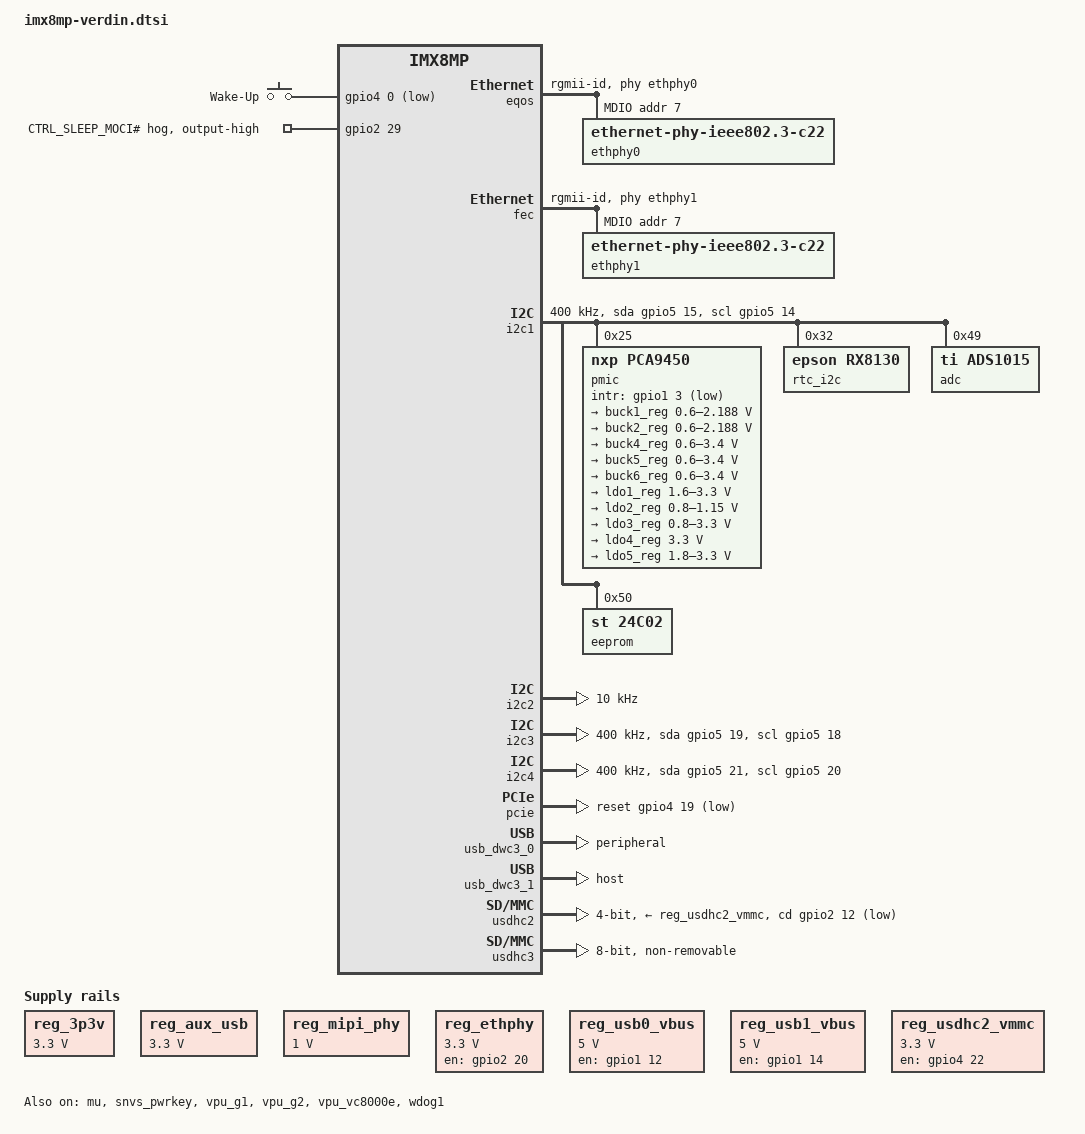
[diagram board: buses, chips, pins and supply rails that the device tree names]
// SPDX-License-Identifier: GPL-2.0+ OR MIT
/*
 * Copyright 2020 Toradex
 */

#include "dt-bindings/pwm/pwm.h"
#include "imx8mp.dtsi"

/ {
	chosen {
		bootargs = "console=ttymxc2,115200 earlycon";
		stdout-path = &uart3;
	};

	aliases {
		rtc0 = &rtc_i2c;
		rtc1 = &snvs_rtc;
	};

	backlight: backlight {
		compatible = "pwm-backlight";
		brightness-levels = <0 45 63 88 119 158 203 255>;
		default-brightness-level = <4>;
		/* Verdin MEZ_DSI_1_BKL_EN (SODIMM 21) */
		enable-gpios = <&gpio4 28 GPIO_ACTIVE_HIGH>;
		pinctrl-names = "default";
		pinctrl-0 = <&pinctrl_mez_dsi_1_bkl_en>;
		power-supply = <&reg_3p3v>;
		/* Verdin MEZ_PWM_3_DSI (SODIMM 19) */
		pwms = <&pwm3 0 6666667 PWM_POLARITY_INVERTED>;
		status = "disabled";
	};

	gpio-keys {
		compatible = "gpio-keys";
		pinctrl-names = "default";
		pinctrl-0 = <&pinctrl_gpio_keys>;

		wakeup {
			debounce-interval = <10>;
			gpios = <&gpio4 0 GPIO_ACTIVE_LOW>;
			label = "Wake-Up";
			linux,code = <KEY_WAKEUP>;
			wakeup-source;
		};
	};

	/* Carrier Board Supply */
	reg_3p3v: regulator-3p3v {
		compatible = "regulator-fixed";
		regulator-max-microvolt = <3300000>;
		regulator-min-microvolt = <3300000>;
		regulator-name = "REG_3P3V";
	};

	reg_aux_usb: regulator-aux-usb {
		compatible = "regulator-fixed";
		regulator-max-microvolt = <3300000>;
		regulator-min-microvolt = <3300000>;
		regulator-name = "REG_AUX_USB";
	};

	reg_mipi_phy: regulator-mipi-phy {
		compatible = "regulator-fixed";
		regulator-max-microvolt = <1000000>;
		regulator-min-microvolt = <1000000>;
		regulator-name = "REG_MIPI_PHY";
	};

	reg_ethphy: regulator-ethphy {
		compatible = "regulator-fixed";
		enable-active-high;
		gpio = <&gpio2 20 GPIO_ACTIVE_HIGH>; /* PMIC_EN_ETH */
		off-on-delay = <500000>;
		pinctrl-names = "default";
		pinctrl-0 = <&pinctrl_reg_eth>;
		regulator-always-on;
		regulator-boot-on;
		regulator-max-microvolt = <3300000>;
		regulator-min-microvolt = <3300000>;
		regulator-name = "V3.3_ETH";
		startup-delay-us = <200000>;
	};

	reg_usb0_vbus: regulator-usb0-vbus {
		compatible = "regulator-fixed";
		enable-active-high;
		/* Verdin USB1_EN */
		gpio = <&gpio1 12 GPIO_ACTIVE_HIGH>;
		pinctrl-names = "default";
		pinctrl-0 = <&pinctrl_reg_usb1_en>;
		regulator-max-microvolt = <5000000>;
		regulator-min-microvolt = <5000000>;
		regulator-name = "usb0_vbus";
	};

	reg_usb1_vbus: regulator-usb1-vbus {
		compatible = "regulator-fixed";
		enable-active-high;
		/* Verdin USB2_EN */
		gpio = <&gpio1 14 GPIO_ACTIVE_HIGH>; /* USB_2_EN */
		pinctrl-names = "default";
		pinctrl-0 = <&pinctrl_reg_usb2_en>;
		regulator-max-microvolt = <5000000>;
		regulator-min-microvolt = <5000000>;
		regulator-name = "usb1_vbus";
	};

	reg_usdhc2_vmmc: regulator-usdhc2 {
		compatible = "regulator-fixed";
		enable-active-high;
		gpio = <&gpio4 22 GPIO_ACTIVE_HIGH>; /* SD_1_PWR_EN */
		pinctrl-names = "default";
		pinctrl-0 = <&pinctrl_usdhc2_pwr_en>;
		regulator-max-microvolt = <3300000>;
		regulator-min-microvolt = <3300000>;
		regulator-name = "V3.3_SD";
		startup-delay-us = <2000>;
		off-on-delay = <100000>;
	};

	reserved-memory {
		#address-cells = <2>;
		#size-cells = <2>;
		ranges;

		rpmsg_reserved: rpmsg@0x55800000 {
			no-map;
			reg = <0 0x55800000 0 0x800000>;
		};
	};

	sound_card: sound-card {
		compatible = "simple-audio-card";
		simple-audio-card,bitclock-master = <&dailink_master>;
		simple-audio-card,format = "i2s";
		simple-audio-card,frame-master = <&dailink_master>;
		simple-audio-card,name = "imx8mm-wm8904";
		simple-audio-card,routing =
			"Headphone Jack", "HPOUTL",
			"Headphone Jack", "HPOUTR",
			"IN2L", "Line In Jack",
			"IN2R", "Line In Jack",
			"Headphone Jack", "MICBIAS",
			"IN1L", "Headphone Jack";
		simple-audio-card,widgets =
			"Microphone", "Microphone Jack",
			"Headphone", "Headphone Jack",
			"Line", "Line In Jack";

		dailink_master: simple-audio-card,codec {
			sound-dai = <&wm8904_1a>;
			clocks = <&audiomix_clk IMX8MP_CLK_AUDIOMIX_SAI1_MCLK1>;
		};

		simple-audio-card,cpu {
			sound-dai = <&sai1>;
		};
	};
};

&A53_0 {
	cpu-supply = <&buck2_reg>;
};

/* compare with commit d0307f1e31c64 */
&clk {
	init-on-array = <IMX8MP_CLK_HSIO_ROOT>;
};

/* Verdin SPI_1 */
&ecspi1 {
	#address-cells = <1>;
	#size-cells = <0>;
	pinctrl-names = "default";
	pinctrl-0 = <&pinctrl_ecspi1>;
	cs-gpios = <&gpio5 9 GPIO_ACTIVE_LOW>;
};

&eqos {
	phy-handle = <&ethphy0>;
	phy-mode = "rgmii-id";
//	phy-supply = <&reg_ethphy>;
	pinctrl-names = "default";
	pinctrl-0 = <&pinctrl_eqos>;

	mdio {
		compatible = "snps,dwmac-mdio";
		#address-cells = <1>;
		#size-cells = <0>;

		ethphy0: ethernet-phy@7 {
			compatible = "ethernet-phy-ieee802.3-c22";
//			interrupt-parent = <&gpio1>;
//			interrupts = <10 IRQ_TYPE_LEVEL_LOW>;
			micrel,led-mode = <0>;
			reg = <7>;
		};
	};
};

&fec {
	fsl,magic-packet;
	phy-handle = <&ethphy1>;
	phy-mode = "rgmii-id";
	pinctrl-names = "default", "sleep";
	pinctrl-0 = <&pinctrl_fec>;
	pinctrl-1 = <&pinctrl_fec_sleep>;

	mdio {
		#address-cells = <1>;
		#size-cells = <0>;

		ethphy1: ethernet-phy@7 {
			compatible = "ethernet-phy-ieee802.3-c22";
//			interrupt-parent = <&gpio4>;
//			interrupts = <18 IRQ_TYPE_LEVEL_LOW>;
			micrel,led-mode = <0>;
			reg = <7>;
		};
	};
};

/* Verdin CAN_1 */
&flexcan1 {
	pinctrl-names = "default";
	pinctrl-0 = <&pinctrl_flexcan1>;
	status = "disabled";
};


/* Verdin CAN_2 */
&flexcan2 {
	pinctrl-names = "default";
	pinctrl-0 = <&pinctrl_flexcan2>;
	status = "disabled";
};

/* Verdin QSPI_1 */
&flexspi {
	pinctrl-names = "default";
	pinctrl-0 = <&pinctrl_flexspi0>;
#if 0
	flash0: mt25qu256aba@0 {
		#address-cells = <1>;
		#size-cells = <1>;
		compatible = "micron,mt25qu256aba";
		reg = <0>;
		spi-max-frequency = <80000000>;
		spi-nor,ddr-quad-read-dummy = <6>;
	};
#endif
};

&gpio1 {
	gpio-line-names = "";
};

&gpio2 {
	gpio-line-names = "";

	ctrl_sleep_moci {
		gpio-hog;
		gpios = <29 GPIO_ACTIVE_HIGH>;
		line-name = "CTRL_SLEEP_MOCI#";
		output-high;
		pinctrl-names = "default";
		pinctrl-0 = <&pinctrl_ctrl_sleep_moci>;
	};
};

&gpio5 {
	gpio-line-names = "";
};

/* On-module I2C */
&i2c1 {
	clock-frequency = <400000>;
	pinctrl-names = "default", "gpio";
	pinctrl-0 = <&pinctrl_i2c1>;
	pinctrl-1 = <&pinctrl_i2c1_gpio>;
	scl-gpios = <&gpio5 14 (GPIO_ACTIVE_HIGH | GPIO_OPEN_DRAIN)>;
	sda-gpios = <&gpio5 15 (GPIO_ACTIVE_HIGH | GPIO_OPEN_DRAIN)>;
	status = "okay";

	pmic: pca9450@25 {
		compatible = "nxp,pca9450";
		gpio_intr = <&gpio1 3 GPIO_ACTIVE_LOW>;
		i2c-lt-en = <0x101>;
		/* PMIC PCA9450 PMIC_nINT GPIO1_IO3 */
		pinctrl-0 = <&pinctrl_pmic>;
		reg = <0x25>;

		regulators {
			#address-cells = <1>;
			#size-cells = <0>;

			pca9450,pmic-buck2-uses-i2c-dvs;
			/* Run/Standby voltage */
			pca9450,pmic-buck2-dvs-voltage = <950000>, <850000>;

			buck1_reg: regulator@0 {
				reg = <0>;
				regulator-compatible = "buck1";
				regulator-min-microvolt = <600000>;
				regulator-max-microvolt = <2187500>;
				regulator-boot-on;
				regulator-always-on;
				regulator-ramp-delay = <3125>;
			};

			buck2_reg: regulator@1 {
				reg = <1>;
				regulator-compatible = "buck2";
				regulator-min-microvolt = <600000>;
				regulator-max-microvolt = <2187500>;
				regulator-boot-on;
				regulator-always-on;
				regulator-ramp-delay = <3125>;
			};

			buck4_reg: regulator@3 {
				reg = <3>;
				regulator-compatible = "buck4";
				regulator-min-microvolt = <600000>;
				regulator-max-microvolt = <3400000>;
				regulator-boot-on;
				regulator-always-on;
			};

			buck5_reg: regulator@4 {
				reg = <4>;
				regulator-compatible = "buck5";
				regulator-min-microvolt = <600000>;
				regulator-max-microvolt = <3400000>;
				regulator-boot-on;
				regulator-always-on;
			};

			buck6_reg: regulator@5 {
				reg = <5>;
				regulator-compatible = "buck6";
				regulator-min-microvolt = <600000>;
				regulator-max-microvolt = <3400000>;
				regulator-boot-on;
				regulator-always-on;
			};

			ldo1_reg: regulator@6 {
				reg = <6>;
				regulator-compatible = "ldo1";
				regulator-min-microvolt = <1600000>;
				regulator-max-microvolt = <3300000>;
				regulator-boot-on;
				regulator-always-on;
			};

			ldo2_reg: regulator@7 {
				reg = <7>;
				regulator-compatible = "ldo2";
				regulator-min-microvolt = <800000>;
				regulator-max-microvolt = <1150000>;
				regulator-boot-on;
				regulator-always-on;
			};

			ldo3_reg: regulator@8 {
				reg = <8>;
				regulator-compatible = "ldo3";
				regulator-min-microvolt = <800000>;
				regulator-max-microvolt = <3300000>;
				regulator-boot-on;
				regulator-always-on;
			};

			ldo4_reg: regulator@9 {
				reg = <9>;
				regulator-compatible = "ldo4";
				regulator-min-microvolt = <3300000>;
				regulator-max-microvolt = <3300000>;
				regulator-always-on;
			};

			ldo5_reg: regulator@10 {
				reg = <10>;
				regulator-compatible = "ldo5";
				regulator-min-microvolt = <1800000>;
				regulator-max-microvolt = <3300000>;
				regulator-boot-on;
				regulator-always-on;
			};
		};
	};

	rtc_i2c: rtc@32 {
		compatible = "epson,rx8130";
		reg = <0x32>;
	};

	adc@49 {
		compatible = "ti,ads1015";
		reg = <0x49>;
		#address-cells = <1>;
		#size-cells = <0>;

		/* Verdin I2C_1 (ADC_4 - ADC_3) */
		channel@0 {
			reg = <0>;
			ti,gain = <2>;
			ti,datarate = <4>;
		};

		/* Verdin I2C_1 (ADC_4 - ADC_1) */
		channel@1 {
			reg = <1>;
			ti,gain = <2>;
			ti,datarate = <4>;
		};

		/* Verdin I2C_1 (ADC_3 - ADC_1) */
		channel@2 {
			reg = <2>;
			ti,gain = <2>;
			ti,datarate = <4>;
		};

		/* Verdin I2C_1 (ADC_2 - ADC_1) */
		channel@3 {
			reg = <3>;
			ti,gain = <2>;
			ti,datarate = <4>;
		};

		/* Verdin I2C_1 ADC_4 */
		channel@4 {
			reg = <4>;
			ti,gain = <2>;
			ti,datarate = <4>;
		};

		/* Verdin I2C_1 ADC_3 */
		channel@5 {
			reg = <5>;
			ti,gain = <2>;
			ti,datarate = <4>;
		};

		/* Verdin I2C_1 ADC_2 */
		channel@6 {
			reg = <6>;
			ti,gain = <2>;
			ti,datarate = <4>;
		};

		/* Verdin I2C_1 ADC_1 */
		channel@7 {
			reg = <7>;
			ti,gain = <2>;
			ti,datarate = <4>;
		};
	};

	eeprom@50 {
		compatible = "st,24c02";
		pagesize = <16>;
		reg = <0x50>;
	};
};

/* Verdin I2C_2_DSI */
&i2c2 {
	clock-frequency = <10000>;
	pinctrl-names = "default", "gpio";
	pinctrl-0 = <&pinctrl_i2c2>;
	pinctrl-1 = <&pinctrl_i2c2_gpio>;
};

/* Verdin I2C_4_CSI */
&i2c3 {
	clock-frequency = <400000>;
	pinctrl-names = "default", "gpio";
	pinctrl-0 = <&pinctrl_i2c3>;
	pinctrl-1 = <&pinctrl_i2c3_gpio>;
	scl-gpios = <&gpio5 18 (GPIO_ACTIVE_HIGH | GPIO_OPEN_DRAIN)>;
	sda-gpios = <&gpio5 19 (GPIO_ACTIVE_HIGH | GPIO_OPEN_DRAIN)>;
};

/* Verdin I2C_1 */
&i2c4 {
	clock-frequency = <400000>;
	pinctrl-names = "default", "gpio";
	pinctrl-0 = <&pinctrl_i2c4>;
	pinctrl-1 = <&pinctrl_i2c4_gpio>;
	scl-gpios = <&gpio5 20 (GPIO_ACTIVE_HIGH | GPIO_OPEN_DRAIN)>;
	sda-gpios = <&gpio5 21 (GPIO_ACTIVE_HIGH | GPIO_OPEN_DRAIN)>;

	/* Audio Codec */
	wm8904_1a: codec@1a {
		compatible = "wlf,wm8904";
		#sound-dai-cells = <0>;
		clocks = <&audiomix_clk IMX8MP_CLK_AUDIOMIX_SAI1_MCLK1>;
		clock-names = "mclk";
		reg = <0x1a>;
		status = "disabled";
		DCVDD-supply = <&reg_3p3v>;
		DBVDD-supply = <&reg_3p3v>;
		AVDD-supply = <&reg_3p3v>;
		CPVDD-supply = <&reg_3p3v>;
		MICVDD-supply = <&reg_3p3v>;
	};

	gpio_expander_21: gpio-expander@21 {
		compatible = "nxp,pcal6416";
		#gpio-cells = <2>;
		gpio-controller;
		reg = <0x21>;
		status = "disabled";
		vcc-supply = <&reg_3p3v>;
	};

	lvds_ti_sn65dsi83: bridge@2c {
		compatible = "ti,sn65dsi83";
		/* Verdin MEZ_GPIO_1 (SODIMM 206) */
		enable-gpios = <&gpio1 0 GPIO_ACTIVE_HIGH>;
		pinctrl-names = "default";
		pinctrl-0 = <&pinctrl_mez_gpio1>;
		reg = <0x2c>;
		status = "disabled";
	};

	/* Current measurement into module VCC */
	hwmon: hwmon@40 {
		compatible = "ti,ina219";
		reg = <0x40>;
		shunt-resistor = <10000>;
		status = "disabled";
	};

	hdmi_lontium_lt8912: hdmi@48 {
		compatible = "lontium,lt8912";
		ddc-i2c-bus = <&i2c2>;
		/* Verdin MEZ_DSI_1_INT HPD (SODIMM 17) shared with MEZ_GPIO_1 (SODIMM 206) */
		hpd-gpios = <&gpio4 25 GPIO_ACTIVE_HIGH>;
		pinctrl-names = "default";
		pinctrl-0 = <&pinctrl_mez_dsi_1_int_hpd>, <&pinctrl_mez_gpio1>,
			    <&pinctrl_mez_gpio2>;
		reg = <0x48>;
		/* Verdin MEZ_GPIO_2 (SODIMM 208) */
		reset-gpios = <&gpio1 1 GPIO_ACTIVE_LOW>;
		status = "disabled";
	};

	atmel_maxtouch: touch@4a {
		compatible = "atmel,maxtouch";
		/* Verdin MEZ_DSI_1_INT# (SODIMM 17) */
		interrupt-parent = <&gpio4>;
		interrupts = <25 IRQ_TYPE_EDGE_FALLING>;
		pinctrl-names = "default";
		pinctrl-0 = <&pinctrl_mez_dsi_1_int_n>, <&pinctrl_mez_gpio2>;
		reg = <0x4a>;
		/* Verdin MEZ_GPIO_2 (SODIMM 208) */
		reset-gpios = <&gpio1 1 GPIO_ACTIVE_HIGH>;
		status = "disabled";
	};

	/* EEPROM on display adapter (MIPI DSI Display Adapter) */
	eeprom_display_adapter: eeprom@50 {
		compatible = "st,24c02";
		pagesize = <16>;
		reg = <0x50>;
		status = "disabled";
	};

	/* EEPROM on carrier board */
	eeprom_carrier_board: eeprom@57 {
		compatible = "st,24c02";
		pagesize = <16>;
		reg = <0x57>;
		status = "disabled";
	};
};

&mu {
	status = "okay";
};

/* Verdin PCIE_1 */
&pcie {
	bus-range = <0x00 0xff>;
	clocks = <&clk IMX8MP_CLK_HSIO_AXI_DIV>,
		 <&clk IMX8MP_CLK_PCIE_AUX>,
		 <&clk IMX8MP_CLK_PCIE_PHY>,
		 <&clk IMX8MP_CLK_PCIE_ROOT>;
	clock-names = "pcie", "pcie_aux", "pcie_phy", "pcie_bus";
	assigned-clocks = <&clk IMX8MP_CLK_HSIO_AXI_SRC>,
			  <&clk IMX8MP_CLK_PCIE_AUX>;
	assigned-clock-parents = <&clk IMX8MP_SYS_PLL2_500M>,
				 <&clk IMX8MP_SYS_PLL2_50M>;
	epdev_on-supply = <&reg_3p3v>;
	ext_osc = <0>;
	pinctrl-names = "default";
	pinctrl-0 = <&pinctrl_pcie>;
	reserved-region = <&rpmsg_reserved>;
	reset-gpio = <&gpio4 19 GPIO_ACTIVE_LOW>;
};

&pcie_phy {
	ext_osc = <0>;
};

/* Verdin PWM_1 */
&pwm1 {
	pinctrl-names = "default";
	pinctrl-0 = <&pinctrl_pwm_1>;
	#pwm-cells = <3>;
};

/* Verdin PWM_2 */
&pwm2 {
	pinctrl-names = "default";
	pinctrl-0 = <&pinctrl_pwm_2>;
	#pwm-cells = <3>;
};

/* Verdin PWM_3_DSI */
&pwm3 {
	#pwm-cells = <3>;
	pinctrl-names = "default";
	pinctrl-0 = <&pinctrl_pwm_3>;
};

/* VERDIN I2S_1 */
&sai1 {
	#sound-dai-cells = <0>;
	assigned-clocks = <&clk IMX8MP_CLK_SAI1>;
	assigned-clock-parents = <&clk IMX8MP_AUDIO_PLL1_OUT>;
	assigned-clock-rates = <24576000>;
	clocks = <&audiomix_clk IMX8MP_CLK_AUDIOMIX_SAI1_IPG>, <&clk IMX8MP_CLK_DUMMY>,
		 <&audiomix_clk IMX8MP_CLK_AUDIOMIX_SAI1_MCLK1>, <&clk IMX8MP_CLK_DUMMY>,
		 <&clk IMX8MP_CLK_DUMMY>;
	clock-names = "bus", "mclk0", "mclk1", "mclk2", "mclk3";
	fsl,sai-mclk-direction-output;
	pinctrl-names = "default";
	pinctrl-0 = <&pinctrl_sai1>;
};

/* VERDIN I2S_2 */
&sai3 {
	#sound-dai-cells = <0>;
	assigned-clocks = <&clk IMX8MP_CLK_SAI3>;
	assigned-clock-parents = <&clk IMX8MP_AUDIO_PLL1_OUT>;
	assigned-clock-rates = <24576000>;
	clocks = <&audiomix_clk IMX8MP_CLK_AUDIOMIX_SAI3_IPG>, <&clk IMX8MP_CLK_DUMMY>,
		 <&audiomix_clk IMX8MP_CLK_AUDIOMIX_SAI3_MCLK1>, <&clk IMX8MP_CLK_DUMMY>,
		 <&clk IMX8MP_CLK_DUMMY>;
	clock-names = "bus", "mclk0", "mclk1", "mclk2", "mclk3";
	fsl,sai-mclk-direction-output;
	pinctrl-names = "default";
	pinctrl-0 = <&pinctrl_sai3>;
};

&sdma2 {
	status = "okay";
};

&snvs_pwrkey {
	status = "okay";
};

/* Verdin UART_1 */
&uart1 {
	pinctrl-names = "default";
	pinctrl-0 = <&pinctrl_uart1>;
	fsl,uart-has-rtscts;
};

/* Verdin UART_2 */
&uart2 {
	pinctrl-names = "default";
	pinctrl-0 = <&pinctrl_uart2>;
	fsl,uart-has-rtscts;
};

/* Verdin UART_3, used as the Linux Console */
&uart3 {
	pinctrl-names = "default";
	pinctrl-0 = <&pinctrl_uart3>;
};

/* Verdin UART_4 */
&uart4 {
	pinctrl-names = "default";
	pinctrl-0 = <&pinctrl_uart4>;
};

/* Verdin USB_1 */
&usb3_phy0 {
	fsl,phy-tx-vref-tune = <6>;
	fsl,phy-tx-rise-tune = <0>;
	fsl,phy-tx-preemp-amp-tune = <3>;
	fsl,phy-comp-dis-tune = <7>;
	fsl,pcs-tx-deemph-3p5db = <0x21>;
	fsl,phy-pcs-tx-swing-full = <0x7f>;
	vbus-supply = <&reg_usb0_vbus>;
};

&usb_dwc3_0 {
//	dr_mode = "otg";
	dr_mode = "peripheral";
	hnp-disable;
	srp-disable;
	adp-disable;
	usb-role-switch;
};

/* Verdin USB_2 */
&usb3_phy1 {
	fsl,phy-tx-preemp-amp-tune = <2>;
	vbus-supply = <&reg_usb1_vbus>;
};

&usb_dwc3_1 {
	dr_mode = "host";
};

/* Verdin SD_1 */
&usdhc2 {
	bus-width = <4>;
	cd-gpios = <&gpio2 12 GPIO_ACTIVE_LOW>;
	disable-wp;
	pinctrl-names = "default", "state_100mhz", "state_200mhz";
	pinctrl-0 = <&pinctrl_usdhc2>, <&pinctrl_usdhc2_cd>;
	pinctrl-1 = <&pinctrl_usdhc2_100mhz>, <&pinctrl_usdhc2_cd>;
	pinctrl-2 = <&pinctrl_usdhc2_200mhz>, <&pinctrl_usdhc2_cd>;
	vmmc-supply = <&reg_usdhc2_vmmc>;
};

/* On-module eMMC */
&usdhc3 {
	bus-width = <8>;
	keep-power-in-suspend;
	non-removable;
	pinctrl-names = "default", "state_100mhz", "state_200mhz";
	pinctrl-0 = <&pinctrl_usdhc3>;
	pinctrl-1 = <&pinctrl_usdhc3_100mhz>;
	pinctrl-2 = <&pinctrl_usdhc3_200mhz>;
	pm-ignore-notify;
	status = "okay";
	/* TODO Strobe */
};

&vpu_g1 {
	status = "okay";
};

&vpu_g2 {
	status = "okay";
};

&vpu_vc8000e {
	status = "okay";
};

&wdog1 {
	fsl,ext-reset-output;
	pinctrl-names = "default";
	pinctrl-0 = <&pinctrl_wdog>;
	status = "okay";
};

&iomuxc {
	pinctrl-names = "default";
	pinctrl-0 = <&pinctrl_gpio3>, <&pinctrl_gpio4>, <&pinctrl_gpio7>,
		    <&pinctrl_gpio8>, <&pinctrl_gpio_hog1>,
		    <&pinctrl_gpio_hog2>, <&pinctrl_gpio_hog3>,
		    <&pinctrl_hdmi_hog>, <&pinctrl_pmic_tpm_ena>;

	pinctrl_ctrl_sleep_moci: ctrlsleepmocigrp {
		fsl,pins = <
			MX8MP_IOMUXC_SAI3_RXC__GPIO4_IO29		0x1c4	/* CTRL_SLEEP_MOCI */
		>;
	};

	pinctrl_ecspi1: ecspi1grp {
		fsl,pins = <
			MX8MP_IOMUXC_ECSPI1_SCLK__ECSPI1_SCLK		0x4	/* SODIMM 196 */
			MX8MP_IOMUXC_ECSPI1_MOSI__ECSPI1_MOSI		0x4	/* SODIMM 200 */
			MX8MP_IOMUXC_ECSPI1_MISO__ECSPI1_MISO		0x1c4	/* SODIMM 198 */
			MX8MP_IOMUXC_ECSPI1_SS0__GPIO5_IO09		0x1c4	/* SODIMM 202 */
		>;
	};

	/* Connection On Board PHY */
	pinctrl_eqos: eqosgrp {
		fsl,pins = <
			MX8MP_IOMUXC_ENET_MDC__ENET_QOS_MDC		0x3
			MX8MP_IOMUXC_ENET_MDIO__ENET_QOS_MDIO		0x3
			MX8MP_IOMUXC_ENET_RD0__ENET_QOS_RGMII_RD0	0x91
			MX8MP_IOMUXC_ENET_RD1__ENET_QOS_RGMII_RD1	0x91
			MX8MP_IOMUXC_ENET_RD2__ENET_QOS_RGMII_RD2	0x91
			MX8MP_IOMUXC_ENET_RD3__ENET_QOS_RGMII_RD3	0x91
			MX8MP_IOMUXC_ENET_RXC__CCM_ENET_QOS_CLOCK_GENERATE_RX_CLK	0x91
			MX8MP_IOMUXC_ENET_RX_CTL__ENET_QOS_RGMII_RX_CTL	0x91
			MX8MP_IOMUXC_ENET_TD0__ENET_QOS_RGMII_TD0	0x1f
			MX8MP_IOMUXC_ENET_TD1__ENET_QOS_RGMII_TD1	0x1f
			MX8MP_IOMUXC_ENET_TD2__ENET_QOS_RGMII_TD2	0x1f
			MX8MP_IOMUXC_ENET_TD3__ENET_QOS_RGMII_TD3	0x1f
			MX8MP_IOMUXC_ENET_TX_CTL__ENET_QOS_RGMII_TX_CTL	0x1f
			MX8MP_IOMUXC_ENET_TXC__CCM_ENET_QOS_CLOCK_GENERATE_TX_CLK	0x1f
			MX8MP_IOMUXC_GPIO1_IO10__GPIO1_IO10		0x1c4
		>;
	};

	/* Connection Carrier Board PHY ETH_2 */
	pinctrl_fec: fecgrp {
		fsl,pins = <
			MX8MP_IOMUXC_SAI1_RXD2__ENET1_MDC		0x3	/* SODIMM 193 */
			MX8MP_IOMUXC_SAI1_RXD3__ENET1_MDIO		0x3	/* SODIMM 191 */
			MX8MP_IOMUXC_SAI1_RXD4__ENET1_RGMII_RD0		0x91	/* SODIMM 201 */
			MX8MP_IOMUXC_SAI1_RXD5__ENET1_RGMII_RD1		0x91	/* SODIMM 203 */
			MX8MP_IOMUXC_SAI1_RXD6__ENET1_RGMII_RD2		0x91	/* SODIMM 205 */
			MX8MP_IOMUXC_SAI1_RXD7__ENET1_RGMII_RD3		0x91	/* SODIMM 207 */
			MX8MP_IOMUXC_SAI1_TXC__ENET1_RGMII_RXC		0x91	/* SODIMM 197 */
			MX8MP_IOMUXC_SAI1_TXFS__ENET1_RGMII_RX_CTL	0x91	/* SODIMM 199 */
			MX8MP_IOMUXC_SAI1_TXD0__ENET1_RGMII_TD0		0x1f	/* SODIMM 221 */
			MX8MP_IOMUXC_SAI1_TXD1__ENET1_RGMII_TD1		0x1f	/* SODIMM 219 */
			MX8MP_IOMUXC_SAI1_TXD2__ENET1_RGMII_TD2		0x1f	/* SODIMM 217 */
			MX8MP_IOMUXC_SAI1_TXD3__ENET1_RGMII_TD3		0x1f	/* SODIMM 215 */
			MX8MP_IOMUXC_SAI1_TXD4__ENET1_RGMII_TX_CTL	0x1f	/* SODIMM 211 */
			MX8MP_IOMUXC_SAI1_TXD5__ENET1_RGMII_TXC		0x1f	/* SODIMM 213 */
			MX8MP_IOMUXC_SAI1_TXD6__GPIO4_IO18		0x1c4	/* SODIMM 189 */
		>;
	};

	pinctrl_fec_sleep: fecsleepgrp {
		fsl,pins = <
			MX8MP_IOMUXC_SAI1_RXD2__ENET1_MDC		0x3	/* SODIMM 193 */
			MX8MP_IOMUXC_SAI1_RXD3__ENET1_MDIO		0x3	/* SODIMM 191 */
			MX8MP_IOMUXC_SAI1_RXD4__ENET1_RGMII_RD0		0x91	/* SODIMM 201 */
			MX8MP_IOMUXC_SAI1_RXD5__ENET1_RGMII_RD1		0x91	/* SODIMM 203 */
			MX8MP_IOMUXC_SAI1_RXD6__ENET1_RGMII_RD2		0x91	/* SODIMM 205 */
			MX8MP_IOMUXC_SAI1_RXD7__ENET1_RGMII_RD3		0x91	/* SODIMM 207 */
			MX8MP_IOMUXC_SAI1_TXC__ENET1_RGMII_RXC		0x91	/* SODIMM 197 */
			MX8MP_IOMUXC_SAI1_TXFS__ENET1_RGMII_RX_CTL	0x91	/* SODIMM 199 */
			MX8MP_IOMUXC_SAI1_TXD0__GPIO4_IO12		0x1f	/* SODIMM 221 */
			MX8MP_IOMUXC_SAI1_TXD1__GPIO4_IO13		0x1f	/* SODIMM 219 */
			MX8MP_IOMUXC_SAI1_TXD2__GPIO4_IO14		0x1f	/* SODIMM 217 */
			MX8MP_IOMUXC_SAI1_TXD3__GPIO4_IO15		0x1f	/* SODIMM 215 */
			MX8MP_IOMUXC_SAI1_TXD4__GPIO4_IO16		0x1f	/* SODIMM 211 */
			MX8MP_IOMUXC_SAI1_TXD5__GPIO4_IO17		0x1f	/* SODIMM 213 */
			MX8MP_IOMUXC_SAI1_TXD6__GPIO4_IO18		0x184	/* SODIMM 189 */
		>;
	};

	pinctrl_flexcan1: flexcan1grp {
		fsl,pins = <
			MX8MP_IOMUXC_SPDIF_RX__CAN1_RX			0x154	/* SODIMM 22 */
			MX8MP_IOMUXC_SPDIF_TX__CAN1_TX			0x154	/* SODIMM 20 */
		>;
	};

	pinctrl_flexcan2: flexcan2grp {
		fsl,pins = <
			MX8MP_IOMUXC_SAI2_MCLK__CAN2_RX			0x154	/* SODIMM 26 */
			MX8MP_IOMUXC_SAI2_TXD0__CAN2_TX			0x154	/* SODIMM 24 */
		>;
	};

	pinctrl_flexspi0: flexspi0grp {
		fsl,pins = <
			MX8MP_IOMUXC_NAND_ALE__FLEXSPI_A_SCLK		0x1c2	/* SODIMM 52 */
			MX8MP_IOMUXC_NAND_CE0_B__FLEXSPI_A_SS0_B	0x82	/* SODIMM 54 */
			MX8MP_IOMUXC_NAND_READY_B__GPIO3_IO16		0x82	/* SODIMM 64 */
			MX8MP_IOMUXC_NAND_DQS__FLEXSPI_A_DQS		0x82	/* SODIMM 66 */
			MX8MP_IOMUXC_NAND_DATA00__FLEXSPI_A_DATA00	0x82	/* SODIMM 56 */
			MX8MP_IOMUXC_NAND_DATA01__FLEXSPI_A_DATA01	0x82	/* SODIMM 58 */
			MX8MP_IOMUXC_NAND_DATA02__FLEXSPI_A_DATA02	0x82	/* SODIMM 60 */
			MX8MP_IOMUXC_NAND_DATA03__FLEXSPI_A_DATA03	0x82	/* SODIMM 62 */
		>;
	};

	pinctrl_gpio3: gpio3grp {
		fsl,pins = <
			MX8MP_IOMUXC_GPIO1_IO05__GPIO1_IO05		0x184	/* SODIMM 210 */
		>;
	};

	pinctrl_gpio4: gpio4grp {
		fsl,pins = <
			MX8MP_IOMUXC_GPIO1_IO06__GPIO1_IO06		0x184	/* SODIMM 212 */
		>;
	};

	pinctrl_gpio5: gpio5grp {
		fsl,pins = <
			MX8MP_IOMUXC_GPIO1_IO07__GPIO1_IO07		0x184	/* SODIMM 216 */
		>;
	};

	pinctrl_gpio6: gpio6grp {
		fsl,pins = <
			MX8MP_IOMUXC_GPIO1_IO08__GPIO1_IO08		0x184	/* SODIMM 218 */
		>;
	};

	pinctrl_gpio7: gpio7grp {
		fsl,pins = <
			MX8MP_IOMUXC_SAI1_RXD1__GPIO4_IO03		0x184	/* SODIMM 220 */
		>;
	};

	pinctrl_gpio8: gpio8grp {
		fsl,pins = <
			MX8MP_IOMUXC_SAI1_RXC__GPIO4_IO01		0x184	/* SODIMM 222 */
		>;
	};

	pinctrl_gpio_hog1: gpiohog1grp {
		fsl,pins = <
			MX8MP_IOMUXC_ECSPI2_MISO__GPIO5_IO12		0x1c4	/* SODIMM 116 */
			MX8MP_IOMUXC_ECSPI2_MOSI__GPIO5_IO11		0x1c4	/* SODIMM 152 */
			MX8MP_IOMUXC_ECSPI2_SCLK__GPIO5_IO10		0x1c4	/* SODIMM 164 */
			MX8MP_IOMUXC_ECSPI2_SS0__GPIO5_IO13		0x1c4	/* SODIMM 128 */
		>;
	};

	pinctrl_gpio_hog2: gpiohog2grp {
		fsl,pins = <
			MX8MP_IOMUXC_SAI3_MCLK__GPIO5_IO02		0x1c4	/* SODIMM 91 */
		>;
	};

	pinctrl_gpio_hog3: gpiohog3grp {
		fsl,pins = <
			MX8MP_IOMUXC_GPIO1_IO13__GPIO1_IO13		0x1c4	/* SODIMM 157 */
			MX8MP_IOMUXC_GPIO1_IO15__GPIO1_IO15		0x1c4	/* SODIMM 187 */
		>;
	};

	pinctrl_gpio_keys: gpiokeysgrp {
		fsl,pins = <
			MX8MP_IOMUXC_SAI1_RXFS__GPIO4_IO00		0x1c4	/* SODIMM 252 */
		>;
	};

	pinctrl_hdmi_hog: hdmihoggrp {
		fsl,pins = <
			MX8MP_IOMUXC_HDMI_DDC_SCL__HDMIMIX_EARC_SCL	0x400001c3	/* SODIMM 59 */
			MX8MP_IOMUXC_HDMI_DDC_SDA__HDMIMIX_EARC_SDA	0x400001c3	/* SODIMM 57 */
			MX8MP_IOMUXC_HDMI_HPD__HDMIMIX_EARC_DC_HPD	0x40000019	/* SODIMM 61 */
			MX8MP_IOMUXC_HDMI_CEC__HDMIMIX_EARC_CEC		0x40000019	/* SODIMM 63 */
		>;
	};

	/* On-module I2C */
	pinctrl_i2c1: i2c1grp {
		fsl,pins = <
			MX8MP_IOMUXC_I2C1_SCL__I2C1_SCL			0x400001c6	/* PMIC_I2C_SCL */
			MX8MP_IOMUXC_I2C1_SDA__I2C1_SDA			0x400001c6	/* PMIC_I2C_SDA */
		>;
	};

	pinctrl_i2c1_gpio: i2c1gpiogrp {
		fsl,pins = <
			MX8MP_IOMUXC_I2C1_SCL__GPIO5_IO14		0x400001c6	/* PMIC_I2C_SCL */
			MX8MP_IOMUXC_I2C1_SDA__GPIO5_IO15		0x400001c6	/* PMIC_I2C_SDA */
		>;
	};

	/* Verdin I2C_2_DSI */
	pinctrl_i2c2: i2c2grp {
		fsl,pins = <
			MX8MP_IOMUXC_I2C2_SCL__I2C2_SCL			0x400001c6	/* SODIMM 55 */
			MX8MP_IOMUXC_I2C2_SDA__I2C2_SDA			0x400001c6	/* SODIMM 53 */
		>;
	};

	pinctrl_i2c2_gpio: i2c2gpiogrp {
		fsl,pins = <
			MX8MP_IOMUXC_I2C2_SCL__GPIO5_IO16		0x400001c6	/* SODIMM 55 */
			MX8MP_IOMUXC_I2C2_SDA__GPIO5_IO17		0x400001c6	/* SODIMM 53 */
		>;
	};

	/* Verdin I2C_4_CSI */
	pinctrl_i2c3: i2c3grp {
		fsl,pins = <
			MX8MP_IOMUXC_I2C3_SCL__I2C3_SCL			0x400001c6	/* SODIMM 95 */
			MX8MP_IOMUXC_I2C3_SDA__I2C3_SDA			0x400001c6	/* SODIMM 93 */
		>;
	};

	pinctrl_i2c3_gpio: i2c3gpiogrp {
		fsl,pins = <
			MX8MP_IOMUXC_I2C3_SCL__GPIO5_IO18		0x400001c6	/* SODIMM 95 */
			MX8MP_IOMUXC_I2C3_SDA__GPIO5_IO19		0x400001c6	/* SODIMM 93 */
		>;
	};

	/* Verdin I2C_1 */
	pinctrl_i2c4: i2c4grp {
		fsl,pins = <
			MX8MP_IOMUXC_I2C4_SCL__I2C4_SCL			0x400001c6	/* SODIMM 14 */
			MX8MP_IOMUXC_I2C4_SDA__I2C4_SDA			0x400001c6	/* SODIMM 12 */
		>;
	};

	pinctrl_i2c4_gpio: i2c4gpiogrp {
		fsl,pins = <
			MX8MP_IOMUXC_I2C4_SCL__GPIO5_IO20		0x400001c6	/* SODIMM 14 */
			MX8MP_IOMUXC_I2C4_SDA__GPIO5_IO21		0x400001c6	/* SODIMM 12 */
		>;
	};

	/* Verdin MEZ_DSI_1_BKL_EN */
	pinctrl_mez_dsi_1_bkl_en: mezdsi1bklengrp {
		fsl,pins = <
			MX8MP_IOMUXC_SAI3_RXFS__GPIO4_IO28		0x1c4	/* SODIMM 21 */
		>;
	};

	/* Verdin MEZ_DSI_1_INT HPD (pulled-down as active-high) */
	pinctrl_mez_dsi_1_int_hpd: mezdsi1inthpdgrp {
		fsl,pins = <
			MX8MP_IOMUXC_SAI2_TXC__GPIO4_IO25		0x184	/* SODIMM 17 */
		>;
	};

	/* Verdin MEZ_DSI_1_INT# (pulled-up as active-low) */
	pinctrl_mez_dsi_1_int_n: mezdsi1intngrp {
		fsl,pins = <
			MX8MP_IOMUXC_SAI2_TXC__GPIO4_IO25		0x1c4	/* SODIMM 17 */
		>;
	};

	/* MEZ_GPIO_1 shared with MEZ_DSI_1_INT on Verdin DSI to HDMI Display Adapter */
	pinctrl_mez_gpio1: mezgpio1grp {
		fsl,pins = <
			MX8MP_IOMUXC_GPIO1_IO00__GPIO1_IO00		0x184	/* SODIMM 206 */
		>;
	};

	pinctrl_mez_gpio2: mezgpio2grp {
		fsl,pins = <
			MX8MP_IOMUXC_GPIO1_IO01__GPIO1_IO01		0x1c4	/* SODIMM 208 */
		>;
	};

	pinctrl_pcie: pciegrp {
		fsl,pins = <
			MX8MP_IOMUXC_SAI1_TXD7__GPIO4_IO19		0x4	/* SODIMM 244 */
			MX8MP_IOMUXC_SD2_RESET_B__GPIO2_IO19		0x1c4	/* PMIC_EN_PCIe_CLK, unused */
		>;
	};

	pinctrl_pmic: pmicirqgrp {
		fsl,pins = <
			MX8MP_IOMUXC_GPIO1_IO03__GPIO1_IO03		0x1c4	/* PMIC_INT# */
		>;
	};

	pinctrl_pwm_1: pwm1grp {
		fsl,pins = <
			MX8MP_IOMUXC_SPDIF_EXT_CLK__PWM1_OUT		0x6	/* SODIMM 15 */
		>;
	};

	pinctrl_pwm_2: pwm2grp {
		fsl,pins = <
			MX8MP_IOMUXC_GPIO1_IO11__PWM2_OUT		0x6	/* SODIMM 16 */
		>;
	};

	pinctrl_pwm_3: pwm3grp {
		fsl,pins = <
			MX8MP_IOMUXC_SAI5_RXC__PWM3_OUT			0x6	/* SODIMM 19 */
		>;
	};

	pinctrl_reg_eth: regethgrp {
		fsl,pins = <
			MX8MP_IOMUXC_SD2_WP__GPIO2_IO20			0x184	/* PMIC_EN_ETH */
		>;
	};

	pinctrl_reg_usb1_en: regusb1engrp {
		fsl,pins = <
			MX8MP_IOMUXC_GPIO1_IO12__GPIO1_IO12		0x184	/* SODIMM 155 */
		>;
	};

	pinctrl_reg_usb2_en: regusb2engrp {
		fsl,pins = <
			MX8MP_IOMUXC_GPIO1_IO14__GPIO1_IO14		0x184	/* SODIMM 185 */
		>;
	};

	pinctrl_sai1: sai1grp {
		fsl,pins = <
			MX8MP_IOMUXC_SAI5_RXD1__AUDIOMIX_SAI1_TX_SYNC	0x1d6	/* SODIMM 32 */
			MX8MP_IOMUXC_SAI5_MCLK__AUDIOMIX_SAI1_TX_BCLK	0x1d6	/* SODIMM 30 */
			MX8MP_IOMUXC_SAI1_MCLK__AUDIOMIX_SAI1_MCLK	0x96	/* SODIMM 38 */
			MX8MP_IOMUXC_SAI1_RXD0__AUDIOMIX_SAI1_RX_DATA00	0x1d6	/* SODIMM 36 */
			MX8MP_IOMUXC_SAI5_RXFS__AUDIOMIX_SAI1_TX_DATA00	0x96	/* SODIMM 34 */
		>;
	};

	pinctrl_sai3: sai3grp {
		fsl,pins = <
			MX8MP_IOMUXC_SAI3_RXD__AUDIOMIX_SAI3_RX_DATA00	0x1d6	/* SODIMM 48 */
			MX8MP_IOMUXC_SAI3_TXFS__AUDIOMIX_SAI3_TX_SYNC	0x1d6	/* SODIMM 44 */
			MX8MP_IOMUXC_SAI3_TXC__AUDIOMIX_SAI3_TX_BCLK	0x1d6	/* SODIMM 42 */
			MX8MP_IOMUXC_SAI3_TXD__AUDIOMIX_SAI3_TX_DATA00	0x96	/* SODIMM 46 */
		>;
	};

	/* ctrl signal for optional ATTPM20P */
	pinctrl_pmic_tpm_ena: pmictpmenagrp {
		fsl,pins = <
			MX8MP_IOMUXC_SD1_RESET_B__GPIO2_IO10		0x1c4	/* PMIC_TPM_ENA */
		>;
	};

	pinctrl_uart1: uart1grp {
		fsl,pins = <
			MX8MP_IOMUXC_UART1_RXD__UART1_DCE_RX		0x1c4	/* SODIMM 129 */
			MX8MP_IOMUXC_UART1_TXD__UART1_DCE_TX		0x1c4	/* SODIMM 131 */
			MX8MP_IOMUXC_SAI2_TXFS__UART1_DCE_CTS		0x1c4	/* SODIMM 133 */
			MX8MP_IOMUXC_SAI2_RXD0__UART1_DCE_RTS		0x1c4	/* SODIMM 135 */
		>;
	};

	pinctrl_uart2: uart2grp {
		fsl,pins = <
			MX8MP_IOMUXC_UART2_RXD__UART2_DCE_RX		0x1c4	/* SODIMM 137 */
			MX8MP_IOMUXC_UART2_TXD__UART2_DCE_TX		0x1c4	/* SODIMM 139 */
			MX8MP_IOMUXC_SD1_DATA5__UART2_DCE_CTS		0x1c4	/* SODIMM 141 */
			MX8MP_IOMUXC_SD1_DATA4__UART2_DCE_RTS		0x1c4	/* SODIMM 143 */
		>;
	};

	pinctrl_uart3: uart3grp {
		fsl,pins = <
			MX8MP_IOMUXC_UART3_RXD__UART3_DCE_RX		0x1c4	/* SODIMM 147 */
			MX8MP_IOMUXC_UART3_TXD__UART3_DCE_TX		0x1c4	/* SODIMM 149 */
		>;
	};

	pinctrl_uart4: uart4grp {
		fsl,pins = <
			MX8MP_IOMUXC_UART4_TXD__UART4_DCE_TX		0x1c4	/* SODIMM 151 */
			MX8MP_IOMUXC_UART4_RXD__UART4_DCE_RX		0x1c4	/* SODIMM 153 */
		>;
	};

	/* On-module Wi-Fi/BT or SDHC interface on the X52 extention slot */
	pinctrl_usdhc1: usdhc1grp {
		fsl,pins = <
			MX8MP_IOMUXC_SD1_CLK__USDHC1_CLK	0x190
			MX8MP_IOMUXC_SD1_CMD__USDHC1_CMD	0x1d0
			MX8MP_IOMUXC_SD1_DATA0__USDHC1_DATA0	0x1d0
			MX8MP_IOMUXC_SD1_DATA1__USDHC1_DATA1	0x1d0
			MX8MP_IOMUXC_SD1_DATA2__USDHC1_DATA2	0x1d0
			MX8MP_IOMUXC_SD1_DATA3__USDHC1_DATA3	0x1d0
		>;
	};

	pinctrl_usdhc1_100mhz: usdhc1grp-100mhz {
		fsl,pins = <
			MX8MP_IOMUXC_SD1_CLK__USDHC1_CLK	0x194
			MX8MP_IOMUXC_SD1_CMD__USDHC1_CMD	0x1d4
			MX8MP_IOMUXC_SD1_DATA0__USDHC1_DATA0	0x1d4
			MX8MP_IOMUXC_SD1_DATA1__USDHC1_DATA1	0x1d4
			MX8MP_IOMUXC_SD1_DATA2__USDHC1_DATA2	0x1d4
			MX8MP_IOMUXC_SD1_DATA3__USDHC1_DATA3	0x1d4
		>;
	};

	pinctrl_usdhc1_200mhz: usdhc1grp-200mhz {
		fsl,pins = <
			MX8MP_IOMUXC_SD1_CLK__USDHC1_CLK	0x196
			MX8MP_IOMUXC_SD1_CMD__USDHC1_CMD	0x1d6
			MX8MP_IOMUXC_SD1_DATA0__USDHC1_DATA0	0x1d6
			MX8MP_IOMUXC_SD1_DATA1__USDHC1_DATA1	0x1d6
			MX8MP_IOMUXC_SD1_DATA2__USDHC1_DATA2	0x1d6
			MX8MP_IOMUXC_SD1_DATA3__USDHC1_DATA3	0x1d6
		>;
	};

	pinctrl_usdhc2_cd: usdhc2cdgrp {
		fsl,pins = <
			MX8MP_IOMUXC_SD2_CD_B__GPIO2_IO12	0x1c4	/* SODIMM 84 */
		>;
	};

	pinctrl_usdhc2_pwr_en: usdhc2pwrengrp {
		fsl,pins = <
			MX8MP_IOMUXC_SAI2_RXC__GPIO4_IO22	0x4	/* SODIMM 76 */
		>;
	};

	pinctrl_usdhc2: usdhc2grp {
		fsl,pins = <
			MX8MP_IOMUXC_SD2_CLK__USDHC2_CLK	0x190	/* SODIMM 78 */
			MX8MP_IOMUXC_SD2_CMD__USDHC2_CMD	0x1d0	/* SODIMM 74 */
			MX8MP_IOMUXC_SD2_DATA0__USDHC2_DATA0	0x1d0	/* SODIMM 80 */
			MX8MP_IOMUXC_SD2_DATA1__USDHC2_DATA1	0x1d0	/* SODIMM 82 */
			MX8MP_IOMUXC_SD2_DATA2__USDHC2_DATA2	0x1d0	/* SODIMM 70 */
			MX8MP_IOMUXC_SD2_DATA3__USDHC2_DATA3	0x1d0	/* SODIMM 72 */
			MX8MP_IOMUXC_GPIO1_IO04__USDHC2_VSELECT	0x4
		>;
	};

	pinctrl_usdhc2_100mhz: usdhc2grp-100mhz {
		fsl,pins = <
			MX8MP_IOMUXC_SD2_CLK__USDHC2_CLK	0x194
			MX8MP_IOMUXC_SD2_CMD__USDHC2_CMD	0x1d4
			MX8MP_IOMUXC_SD2_DATA0__USDHC2_DATA0	0x1d4
			MX8MP_IOMUXC_SD2_DATA1__USDHC2_DATA1	0x1d4
			MX8MP_IOMUXC_SD2_DATA2__USDHC2_DATA2	0x1d4
			MX8MP_IOMUXC_SD2_DATA3__USDHC2_DATA3	0x1d4
			MX8MP_IOMUXC_GPIO1_IO04__USDHC2_VSELECT 0x4
		>;
	};

	pinctrl_usdhc2_200mhz: usdhc2grp-200mhz {
		fsl,pins = <
			MX8MP_IOMUXC_SD2_CLK__USDHC2_CLK	0x196
			MX8MP_IOMUXC_SD2_CMD__USDHC2_CMD	0x1d6
			MX8MP_IOMUXC_SD2_DATA0__USDHC2_DATA0	0x1d6
			MX8MP_IOMUXC_SD2_DATA1__USDHC2_DATA1	0x1d6
			MX8MP_IOMUXC_SD2_DATA2__USDHC2_DATA2	0x1d6
			MX8MP_IOMUXC_SD2_DATA3__USDHC2_DATA3	0x1d6
			MX8MP_IOMUXC_GPIO1_IO04__USDHC2_VSELECT 0x4
		>;
	};

	pinctrl_usdhc3: usdhc3grp {
		fsl,pins = <
			MX8MP_IOMUXC_NAND_WE_B__USDHC3_CLK	0x190
			MX8MP_IOMUXC_NAND_WP_B__USDHC3_CMD	0x1d0
			MX8MP_IOMUXC_NAND_DATA04__USDHC3_DATA0	0x1d0
			MX8MP_IOMUXC_NAND_DATA05__USDHC3_DATA1	0x1d0
			MX8MP_IOMUXC_NAND_DATA06__USDHC3_DATA2	0x1d0
			MX8MP_IOMUXC_NAND_DATA07__USDHC3_DATA3	0x1d0
			MX8MP_IOMUXC_NAND_RE_B__USDHC3_DATA4	0x1d0
			MX8MP_IOMUXC_NAND_CE2_B__USDHC3_DATA5	0x1d0
			MX8MP_IOMUXC_NAND_CE3_B__USDHC3_DATA6	0x1d0
			MX8MP_IOMUXC_NAND_CLE__USDHC3_DATA7	0x1d0
			MX8MP_IOMUXC_NAND_CE1_B__USDHC3_STROBE	0x190
		>;
	};

	pinctrl_usdhc3_100mhz: usdhc3grp-100mhz {
		fsl,pins = <
			MX8MP_IOMUXC_NAND_WE_B__USDHC3_CLK	0x194
			MX8MP_IOMUXC_NAND_WP_B__USDHC3_CMD	0x1d4
			MX8MP_IOMUXC_NAND_DATA04__USDHC3_DATA0	0x1d4
			MX8MP_IOMUXC_NAND_DATA05__USDHC3_DATA1	0x1d4
			MX8MP_IOMUXC_NAND_DATA06__USDHC3_DATA2	0x1d4
			MX8MP_IOMUXC_NAND_DATA07__USDHC3_DATA3	0x1d4
			MX8MP_IOMUXC_NAND_RE_B__USDHC3_DATA4	0x1d4
			MX8MP_IOMUXC_NAND_CE2_B__USDHC3_DATA5	0x1d4
			MX8MP_IOMUXC_NAND_CE3_B__USDHC3_DATA6	0x1d4
			MX8MP_IOMUXC_NAND_CLE__USDHC3_DATA7	0x1d4
			MX8MP_IOMUXC_NAND_CE1_B__USDHC3_STROBE	0x194
		>;
	};

	pinctrl_usdhc3_200mhz: usdhc3grp-200mhz {
		fsl,pins = <
			MX8MP_IOMUXC_NAND_WE_B__USDHC3_CLK	0x196
			MX8MP_IOMUXC_NAND_WP_B__USDHC3_CMD	0x1d6
			MX8MP_IOMUXC_NAND_DATA04__USDHC3_DATA0	0x1d6
			MX8MP_IOMUXC_NAND_DATA05__USDHC3_DATA1	0x1d6
			MX8MP_IOMUXC_NAND_DATA06__USDHC3_DATA2	0x1d6
			MX8MP_IOMUXC_NAND_DATA07__USDHC3_DATA3	0x1d6
			MX8MP_IOMUXC_NAND_RE_B__USDHC3_DATA4	0x1d6
			MX8MP_IOMUXC_NAND_CE2_B__USDHC3_DATA5	0x1d6
			MX8MP_IOMUXC_NAND_CE3_B__USDHC3_DATA6	0x1d6
			MX8MP_IOMUXC_NAND_CLE__USDHC3_DATA7	0x1d6
			MX8MP_IOMUXC_NAND_CE1_B__USDHC3_STROBE	0x196
			MX8MP_IOMUXC_GPIO1_IO09__USDHC3_RESET_B 0x1d1
		>;
	};

	pinctrl_wdog: wdoggrp {
		fsl,pins = <
			MX8MP_IOMUXC_GPIO1_IO02__WDOG1_WDOG_B		0x1c4	/* PMIC_WDI */
		>;
	};

	pinctrl_wifi_ctrl: wifictrlgrp {
		fsl,pins = <
			MX8MP_IOMUXC_SD1_DATA6__GPIO2_IO08		0x1c4		/* WIFI_WKUP_BT */
			MX8MP_IOMUXC_SD1_DATA7__GPIO2_IO09		0x1c4		/* WIFI_WKUP_WLAN */
		>;
	};

	pinctrl_wifi_i2s: bti2sgrp {
		fsl,pins = <
			MX8MP_IOMUXC_SAI5_RXD2__GPIO3_IO23		0x1d6		/* WIFI_TX_BCLK */
			MX8MP_IOMUXC_SAI5_RXD0__GPIO3_IO21		0x1d6		/* WIFI_TX_DATA0 */
			MX8MP_IOMUXC_SAI2_RXFS__GPIO4_IO21		0x1d6		/* WIFI_TX_SYNC */
			MX8MP_IOMUXC_SAI5_RXD3__GPIO3_IO24		0x96		/* WIFI_RX_DATA0 */
		>;
	};

	pinctrl_wifi_pwr_en: wifipwrengrp {
		fsl,pins = <
			MX8MP_IOMUXC_SD1_STROBE__GPIO2_IO11		0x184		/* PMIC_EN_WIFI */
		>;
	};
};
